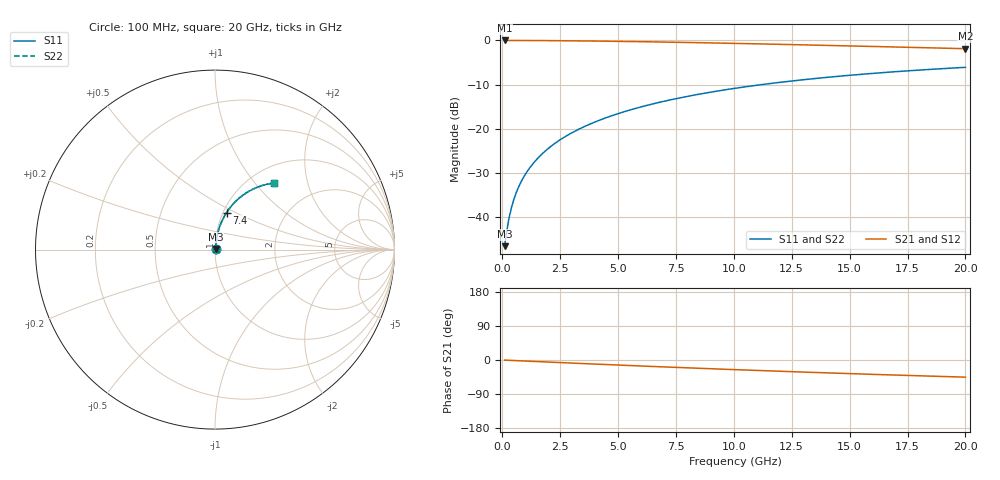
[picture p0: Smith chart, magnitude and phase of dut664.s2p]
! Touchstone file exported from HFSS 2024.1.0
!  File:  C:/UserFiles/LocalFiles/RDL_TSV_Batchsim/temp_RDL_bottom_664_1779785882.aedt
!  Generated:  05:00:32 PM May 26, 2026
!  Design:  RDL_bottom
!  Project:  temp_RDL_bottom_664_1779785882
!  Setup:  Setup1
!  Solution:  Sweep
! Variables:
!  dtsv = 10.80580581um
!  hbump = 3um
!  htsv = 70.53um
!  ldown = 583.68um
!  lrdl = 100um
!  p = 40
!  p1 = 55.98um
!  rhole = 1um
!  t = 450um
!  tdown = 4.49um
!  trdl = 3.915915916um
!  wdown = 13.41um
!  wrdl = 20um
# GHz S MA R 50.000000
! Terminal data exported
! Port[1] = RDL1_T1
! Port[2] = RDL1_T2
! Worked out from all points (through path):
!   200 points, 100 MHz to 20 GHz, reference 50 ohm
!   highest |S21| = -0.03 dB at 100 MHz (marker M1); lowest = -1.9 dB at 20 GHz (marker M2)
!   group delay of S21, straight-line fit = 6.28 ps
!   lowest |S11| = -46.6 dB at 100 MHz (marker M3), VSWR 1.01, Z = 50.4 + j0.312 ohm
!   |S11| at or under -10 dB: start of sweep to 11.24 GHz
!   |S22| runs from -46.6 to -6.1 dB; largest |S21 - S12| = 2.6e-15
!   S11 on the Smith chart (normalised r, x): 100 MHz: 1.01, +0.01; 7.4 GHz: 1.04, +0.45; 20 GHz: 1.28, +1.26
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0.1  0.004682 41.5  0.9965 -0.3  0.9965 -0.3  0.004682 41.5
! Gamma 0 0 0 0
! Port Impedance 50 0 50 0
0.2  0.007156 59.9  0.9964 -0.6  0.9964 -0.6  0.007156 59.9
0.3  0.009973 68.1  0.9963 -0.8  0.9963 -0.8  0.009972 68.1
0.4  0.01289 72.5  0.9961 -1.1  0.9961 -1.1  0.01289 72.5
0.5  0.01583 75.1  0.996 -1.4  0.996 -1.4  0.01583 75.1
0.6  0.01878 76.9  0.9958 -1.7  0.9958 -1.7  0.01878 76.9
0.8  0.02469 79.0  0.9954 -2.2  0.9954 -2.2  0.02468 79.0
1.1  0.03354 80.6  0.9948 -3.0  0.9948 -3.0  0.03354 80.6
1.5  0.04536 81.4  0.9938 -4.1  0.9938 -4.1  0.04536 81.4
1.8  0.05423 81.6  0.9928 -4.9  0.9928 -4.9  0.05423 81.6
2.1  0.06311 81.5  0.9917 -5.7  0.9917 -5.7  0.06311 81.5
2.7  0.08083 81.0  0.989 -7.3  0.989 -7.3  0.08084 81.1
3.5  0.1044 80.0  0.9845 -9.5  0.9845 -9.5  0.1044 80.0
4.2  0.1248 78.8  0.9798 -11.3  0.9798 -11.3  0.1249 78.8
5  0.148 77.4  0.9737 -13.3  0.9737 -13.3  0.1481 77.4
6.8  0.1992 73.9  0.9577 -17.8  0.9577 -17.8  0.1992 73.9
7.4  0.2158 72.7  0.9518 -19.3  0.9518 -19.3  0.2159 72.7
8.7  0.2511 70.0  0.9383 -22.4  0.9383 -22.4  0.2512 70.1
10.1  0.2877 67.2  0.9228 -25.6  0.9228 -25.6  0.2878 67.2
13.4  0.3673 60.5  0.8839 -32.7  0.8839 -32.7  0.3675 60.6
16.7  0.4363 54.3  0.8436 -39.3  0.8436 -39.3  0.4365 54.3
20  0.4945 48.5  0.804 -45.3  0.804 -45.3  0.4948 48.5
